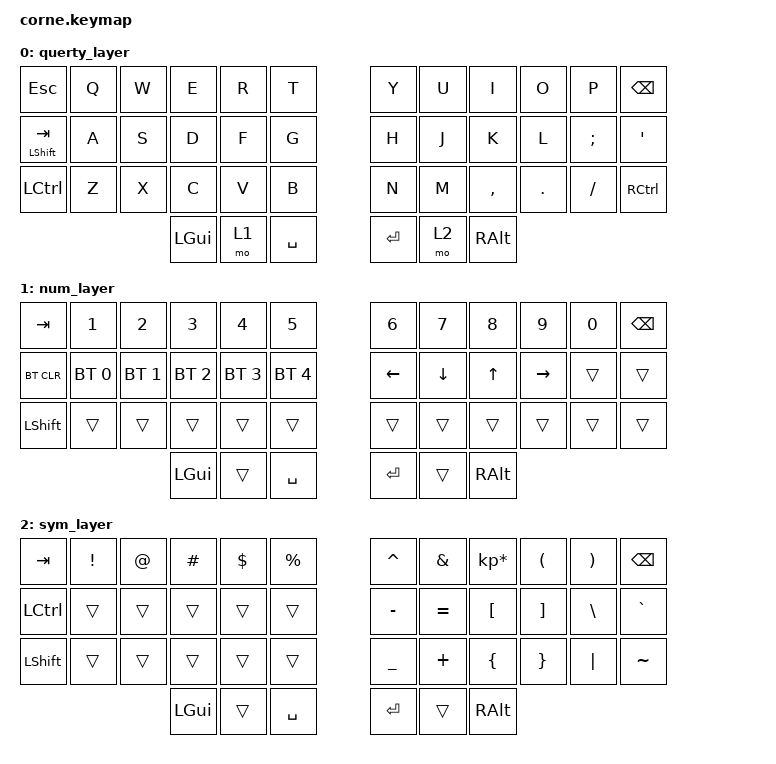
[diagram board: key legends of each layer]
/*
* FileName: corne.keymap
* Date: 03.September.2023
* Author: Gabriela Barrera Angel
* Email: g.barrera.angel@gmail.com
* GitHub: https://github.com/GBarrera817
* Brief: keymap for the wireless corne keyboard

* Copyright (c) 2020 The ZMK Contributors

* SPDX-License-Identifier: MIT
*/

// ### include {{{
#include <behaviors.dtsi>
#include <dt-bindings/zmk/keys.h>
#include <dt-bindings/zmk/bt.h>
// #include "keymap_en_int_zmk.h"

// }}}
// ### ifdef CONFIG_ZMK_RGB_UNDERGLOW {{{
// #    include <dt-bindings/led/led.h>
// #    include <../boards/shields/corne/boards/nice_nano.overlay>
#ifdef CONFIG_ZMK_RGB_UNDERGLOW
#    include <dt-bindings/zmk/rgb.h>
#endif // CONFIG_ZMK_RGB_UNDERGLOW
//}}}

// define bluethooth
#define BT(n) BT_SEL n

// Layers}}} 
#define QWERTY 0
#define NUM 1
#define SYM 2
#define ADJUST 3
//}}}

// }}}
// ### keymap {{{
/ {
    keymap {
        compatible = "zmk,keymap";

        querty_layer {
            
            bindings = <
            //  ┌─────────┬─────────┬─────────┬─────────┬─────────┬─────────┐               ┌─────────┬─────────┬─────────┬─────────┬─────────┬─────────┐ 
            //  │   ESC   │    Q    │    W    │    E    │    R    │    T    │               │    Y    │    U    │    I    │    O    │    P    │  BKSPC  │ 
                  &kp ESC   &kp Q      &kp W     &kp E     &kp R     &kp T                      &kp Y     &kp U     &kp I     &kp O     &kp P    &kp BSPC
            //  ├─────────├─────────├─────────├─────────├─────────├─────────┤               ├─────────├─────────├─────────├─────────├─────────├─────────┤
            //  │   TAB   │    A    │    S    │    D    │    F    │    G    │               │    H    │    J    │    K    │    L    │    ;    │         │
                 &mt LSHFT TAB &kp A   &kp S     &kp D     &kp F     &kp G                      &kp H     &kp J     &kp K     &kp L    &kp SEMI  &kp SQT
            //  ├─────────├─────────├─────────├─────────├─────────├─────────┤               ├─────────├─────────├─────────├─────────├─────────├─────────┤
            //  │CTRL/SFT │    Z    │    X    │    C    │    V    │    B    │               │    N    │    M    │    ,    │    .    │    /    │  RCTRL  │
                 &kp LCTRL   &kp Z     &kp X     &kp C     &kp V     &kp B                     &kp N     &kp M   &kp COMMA  &kp DOT   &kp FSLH  &kp RCTRL
            //  └─────────┴─────────┴─────────┴────┬────┴─────┬───┴──────┬──┴──────┐  ┌─────┴───┬─────┴────┬────┴─────┬───┴─────────┴─────────┴─────────┘
            //                                     │    WIN   │    NUM   │   SPC   │  │    RET  │    SYM   │   RALT   │
                                                     &kp LGUI   &mo 1    &kp SPACE      &kp RET  &mo 2 &kp RALT
            //                                     └──────────┴──────────┴─────────┘  └─────────┴──────────┴──────────┘
            >;
        };
                
        num_layer {
                
            bindings = <
            //  ┌─────────┬─────────┬─────────┬─────────┬─────────┬─────────┐               ┌─────────┬─────────┬─────────┬─────────┬─────────┬─────────┐ 
            //  │   TAB   │    1    │    2    │    3    │    4    │    5    │               │    6    │    7    │    8    │    9    │    0    │   BKSP  │ 
                  &kp TAB    &kp N1    &kp N2    &kp N3    &kp N4    &kp N5                   &kp N6     &kp N7   &kp N8     &kp N9    &kp N0   &kp BSPC
            //  ├─────────├─────────├─────────├─────────├─────────├─────────┤               ├─────────├─────────├─────────├─────────├─────────├─────────┤
            //  │  BTCLR  │   BT1   │   BT2   │   BT3   │   BT4   │   BT5   │               │   LEFT  │   DOWN  │    UP   │  RIGHT  │         │         │
                &bt BT_CLR &bt BT_SEL 0 &bt BT_SEL 1 &bt BT_SEL 2 &bt BT_SEL 3 &bt BT_SEL 4   &kp LEFT  &kp DOWN   &kp UP  &kp RIGHT   &trans    &trans
            //  ├─────────├─────────├─────────├─────────├─────────├─────────┤               ├─────────├─────────├─────────├─────────├─────────├─────────┤
            //  │  SHFT   │         │         │         │         │         │               │         │         │         │         │         │         │
                 &kp LSHFT  &trans       &trans       &trans       &trans       &trans         &trans   &trans   &trans &trans    &trans &trans
            //  └─────────┴─────────┴─────────┴────┬────┴─────┬───┴──────┬──┴──────┐  ┌─────┴───┬─────┴────┬────┴─────┬───┴─────────┴─────────┴─────────┘
            //                                     │    WIN   │          │   SPC   │  │    RET  │          │   RALT   │
                                                     &kp LGUI    &trans   &kp SPACE      &kp RET    &trans   &kp RALT
            //                                     └──────────┴──────────┴─────────┘  └─────────┴──────────┴──────────┘
            >;
        };

        sym_layer {
            bindings = <
            //  ┌─────────┬─────────┬─────────┬─────────┬─────────┬─────────┐               ┌─────────┬─────────┬─────────┬─────────┬─────────┬─────────┐ 
            //  │   TAB   │    !    │    @    │    #    │    $    │    %    │               │    ^    │    &    │    *    │    (    │    )    │   BKSP  │ 
                &kp  TAB  &kp EXCL &kp AT &kp HASH &kp DLLR &kp PRCNT   &kp CARET &kp AMPS  &kp KP_MULTIPLY &kp LPAR &kp RPAR &kp BSPC
            //  ├─────────├─────────├─────────├─────────├─────────├─────────┤               ├─────────├─────────├─────────├─────────├─────────├─────────┤
            //  │   CTRL  │         │         │         │         │         │               │    -   │    =    │    [    │    ]    │    \    │    `    │
                 &kp LCTRL  &trans   &trans &trans   &trans   &trans      &kp MINUS &kp EQUAL &kp LBKT        &kp RBKT &kp BSLH &kp GRAVE
            //  ├─────────├─────────├─────────├─────────├─────────├─────────┤               ├─────────├─────────├─────────├─────────├─────────├─────────┤
            //  │    SHFT │         │         │         │         │         │               │    _    │    +    │    {    │    }    │    \    │    ~    │
                &kp LSHFT    &trans   &trans     &trans    &trans    &trans                  &kp UNDER  &kp PLUS  &kp LBRC  &kp RBRC &kp PIPE  &kp TILDE
            //  └─────────┴─────────┴─────────┴────┬────┴─────┬───┴──────┬──┴──────┐  ┌─────┴───┬─────┴────┬────┴─────┬───┴─────────┴─────────┴─────────┘
            //                                     │    WIN   │          │   SPC   │  │    RET  │          │   RALT   │
                                                     &kp LGUI    &trans   &kp SPACE     &kp RET     &trans    &kp RALT
            //                                     └──────────┴──────────┴─────────┘  └─────────┴──────────┴──────────┘
            >;
        };

        // adjust_layer {
        //     bindings = <
        //  ┌─────────┬─────────┬─────────┬─────────┬─────────┬─────────┐               ┌─────────┬─────────┬─────────┬─────────┬─────────┬─────────┐ 
        //  │   ESC   │    Q    │    W    │    E    │    R    │    T    │               │    Y    │    U    │    I    │    O    │    P    │  BKSPC  │ 
        //  ├─────────├─────────├─────────├─────────├─────────├─────────┤               ├─────────├─────────├─────────├─────────├─────────├─────────┤
        //  │   TAB   │    A    │    S    │    D    │    F    │    G    │               │    H    │    J    │    K    │    L    │    ;    │         │
        //  ├─────────├─────────├─────────├─────────├─────────├─────────┤               ├─────────├─────────├─────────├─────────├─────────├─────────┤
        //  │CTRL/SFT │    Z    │    X    │    C    │    V    │    B    │               │    N    │    M    │    ,    │    .    │    /    │  RCTRL  │
        //  └─────────┴─────────┴─────────┴────┬────┴─────┬───┴──────┬──┴──────┐  ┌─────┴───┬─────┴────┬────┴─────┬───┴─────────┴─────────┴─────────┘
        //                                     │    WIN   │    NUM   │   SPC   │  │    RET  │    SYM   │   RALT   │
        //                                     └──────────┴──────────┴─────────┘  └─────────┴──────────┴──────────┘

        //     >;
        // }
    };
};
// end keymap }}}

// ### niceview {{{
// &nice_view_spi {
//    cs-gpios = <&pro_micro 0 GPIO_ACTIVE_HIGH>;
//};
// }}} 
